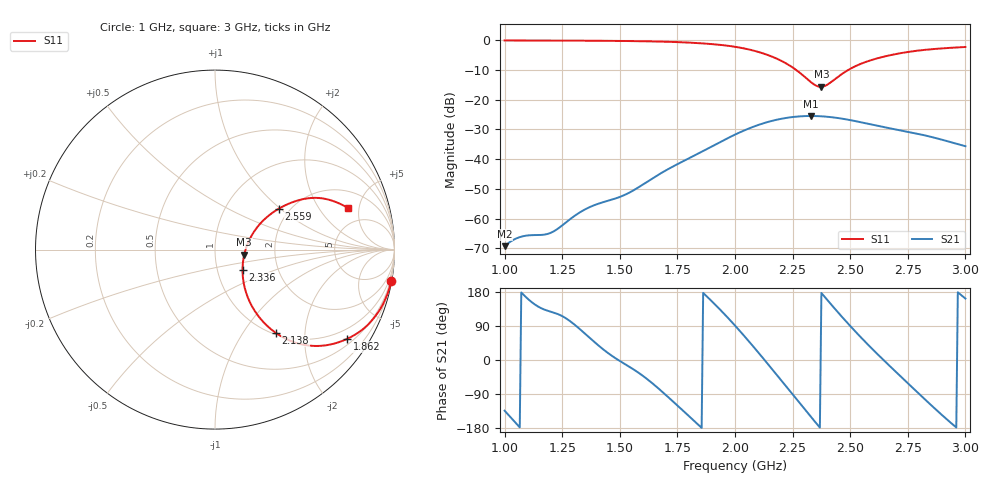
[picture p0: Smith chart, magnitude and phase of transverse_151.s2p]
! TOUCHSTONE file generated by CST MICROWAVE STUDIO
! Date and time: Tue Mar 11 13:57:12 2025
! Project name: transverse.cst
! Parameters = {Fracture=1; B=10; D=160; F=5; Feed=2.85625; L=100; M=20; R=0.384908; S=2; Theta=180; length=57.125; wave=114.25}
! Header version: 2024
! Port assignment regex: !\s*Touchstone port\s*([0-9]+)\s*=\s*(CST MWS port|CST DES external port|CST DES block port)\s*(.+)\s* \(\"(.*)\"\)(\s*mode\s*([0-9]+))?.*
! Touchstone port assignment:
! Touchstone port 1 = CST MWS port 1 ("")
! Touchstone port 2 = CST MWS port 2 ("")
# GHz S MA R 50
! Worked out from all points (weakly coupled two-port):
!   305 points, 1 GHz to 3 GHz, reference 50 ohm
!   highest |S21| = -25.46 dB at 2.329 GHz (marker M1); lowest = -69.3 dB at 1 GHz (marker M2)
!   lowest |S11| = -15.6 dB at 2.375 GHz (marker M3), VSWR 1.40, Z = 69.3 - j4.02 ohm
!   |S11| at or under -10 dB: 2.266 GHz to 2.49 GHz (224.2 MHz wide, 9.43 % of centre)
!   S12 and S22 are empty: the file has one direction only
!   S11 on the Smith chart (normalised r, x): 1 GHz: 0, -11; 1.862 GHz: 0.66, -3.15; 2.138 GHz: 1.03, -1.43; 2.336 GHz: 1.32, -0.31; 2.559 GHz: 1.76, +0.98; 3 GHz: 3.27, +3.80
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1  0.9978 -10.0  0.0003423 -133.8  0 0.0  0 0.0
1.03289  0.9973 -10.5  0.0004262 -156.1  0 0.0  0 0.0
1.07237  0.9965 -11.0  0.0004949 178.1  0 0.0  0 0.0
1.20395  0.9944 -13.1  0.000583 126.9  0 0.0  0 0.0
1.33553  0.9896 -15.5  0.001332 76.7  0 0.0  0 0.0
1.38816  0.9873 -16.6  0.001672 48.3  0 0.0  0 0.0
1.52632  0.9771 -20.1  0.002552 -12.3  0 0.0  0 0.0
1.67105  0.9563 -24.9  0.005568 -76.9  0 0.0  0 0.0
1.86184  0.889 -34.0  0.01372 177.0  0 0.0  0 0.0
2  0.7809 -43.4  0.0259 91.0  0 0.0  0 0.0
2.07237  0.6859 -49.1  0.03428 40.6  0 0.0  0 0.0
2.13816  0.5754 -53.8  0.04182 -7.2  0 0.0  0 0.0
2.23684  0.3783 -56.9  0.05045 -80.8  0 0.0  0 0.0
2.32895  0.1991 -39.5  0.05336 -149.5  0 0.0  0 0.0
2.33553  0.1901 -36.3  0.05335 -154.3  0 0.0  0 0.0
2.375  0.1652 -9.8  0.05269 176.9  0 0.0  0 0.0
2.40132  0.1803 7.8  0.05173 157.9  0 0.0  0 0.0
2.46711  0.2772 28.9  0.0479 112.0  0 0.0  0 0.0
2.55921  0.4222 32.7  0.04085 51.7  0 0.0  0 0.0
2.67105  0.5606 30.0  0.03316 -15.5  0 0.0  0 0.0
2.82895  0.6962 23.4  0.02488 -106.5  0 0.0  0 0.0
3  0.7745 17.5  0.01652 162.2  0 0.0  0 0.0
